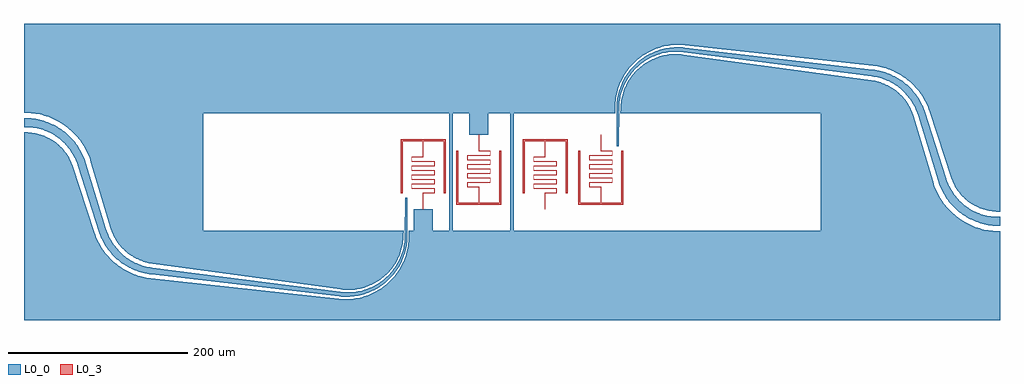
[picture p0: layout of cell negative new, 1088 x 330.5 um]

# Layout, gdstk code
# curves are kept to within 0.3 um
import gdstk
lib = gdstk.Library(unit=1e-6, precision=1e-09)
def R(c, l, rs):  # rectangles x0, y0, x1, y1
    for r in rs: c.add(gdstk.rectangle(r[:2], r[2:], *l))
def P(c, l, *ps):  # polygons
    for p in ps: c.add(gdstk.Polygon(p, *l))
L0_0 = (0, 0)
L0_3 = (0, 3)

negative_new = lib.new_cell('negative new')
R(negative_new, L0_0, [(-10.5,-101.5,10.5,-77.5), (29,-101.5,33,29), (97,-101.5,101,29), (51.5,5,72.5,29)])
P(negative_new, L0_0, [(-80.935,-167.618),(-74.335,-166.97),(-67.843,-165.616),(-57.467,-161.838),(-51.624,-158.7),(-46.153,-154.953),(-38.029,-147.473),(-33.843,-142.33),(-30.235,-136.766),(-25.614,-126.736),(-23.729,-120.378),(-22.539,-113.854),(-21.941,-101.5),(-245,-101.5),(-245,29),(-21.941,29),(-21.941,129),(-445,129),(-445,29.833),(-436.832,29.478),(-427.097,27.905),(-419.971,25.915),(-410.83,22.216),(-404.325,18.691),(-396.235,13.052),(-388.932,6.424),(-382.536,-1.082),(-375.975,-11.512),(-371.161,-22.855),(-348.745,-98.059),(-346.602,-104.028),(-342.744,-111.547),(-339.146,-116.768),(-334.991,-121.559),(-330.332,-125.86),(-324.884,-129.835),(-317.83,-133.71),(-309.913,-136.666),(-303.736,-138.099),(-91.966,-167.113)],
  [(214.076,33.917),(214.864,45.833),(217.654,57.444),(220.259,64.125),(223.53,70.507),(230.366,80.299),(238.76,88.794),(244.444,93.165),(250.543,96.936),(261.458,101.781),(273.035,104.712),(282.55,105.62),(292.1,105.231),(501.624,82.261),(513.642,79.943),(520.614,77.619),(527.325,74.623),(537.753,68.215),(543.458,63.582),(548.681,58.412),(553.371,52.754),(557.484,46.663),(560.979,40.198),(563.822,33.422),(589.289,-44.37),(593.819,-53.783),(598.676,-60.589),(602.965,-65.167),(607.748,-69.227),(612.962,-72.715),(618.54,-75.588),(624.408,-77.806),(630.491,-79.341),(636.709,-80.174),(643,-80.333),(643,129),(-21.941,129),(-21.941,29),(214.162,29)],
  [(220.057,34.74),(219.941,29),(220.057,29)],
  [(220.057,-101.5),(-16.162,-101.5),(-16.544,-115.963),(-17.743,-123.033),(-19.654,-129.944),(-22.259,-136.625),(-25.53,-143.007),(-32.366,-152.799),(-40.76,-161.294),(-46.444,-165.665),(-52.543,-169.436),(-58.995,-172.566),(-65.731,-175.024),(-72.683,-176.784),(-79.777,-177.828),(-86.941,-178.144),(-94.1,-177.731),(-308.476,-154.07),(-315.642,-152.443),(-322.614,-150.119),(-329.325,-147.123),(-335.709,-143.483),(-341.705,-139.233),(-348.997,-132.692),(-353.87,-127.191),(-358.18,-121.238),(-362.979,-112.698),(-365.822,-105.922),(-391.289,-28.13),(-395.819,-18.717),(-400.676,-11.911),(-404.965,-7.333),(-409.748,-3.273),(-414.962,0.215),(-420.54,3.088),(-426.408,5.306),(-432.491,6.841),(-438.709,7.674),(-445,7.833),(-445,-201.5),(220.057,-201.5)],
  [(643,-102.333),(634.832,-101.978),(625.097,-100.405),(617.971,-98.415),(608.83,-94.716),(602.325,-91.191),(594.235,-85.552),(588.677,-80.668),(582.044,-73.371),(575.152,-63.156),(569.977,-51.973),(546.745,25.559),(542.812,35.359),(537.146,44.268),(529.938,51.984),(521.435,58.244),(511.926,62.834),(505.872,64.72),(499.646,65.923),(289.966,94.613),(278.935,95.118),(270.156,94.096),(261.613,91.829),(251.534,87.316),(244.153,82.453),(237.544,76.584),(231.843,69.83),(227.168,62.329),(223.614,54.236),(221.729,47.878),(220.539,41.354),(220.057,29),(443,29),(443,-101.5),(220.057,-101.5),(220.057,-201.5),(643,-201.5)],
  [(218.373,34.578),(219.459,45.78),(222.49,56.619),(225.207,62.808),(228.56,68.675),(235.461,77.566),(243.813,85.11),(253.358,91.075),(263.799,95.275),(274.815,97.581),(283.813,98.013),(290.552,97.504),(500.248,70.455),(506.798,69.25),(513.181,67.35),(523.696,62.431),(523.696,71.285),(512.7,75.536),(501.147,77.882),(291.522,102.33),(282.129,102.77),(275.093,102.246),(268.149,100.996),(259.164,98.225),(250.646,94.24),(244.664,90.5),(237.35,84.589),(232.44,79.523),(228.08,73.976),(223.205,65.935),(220.303,59.504),(218.083,52.808),(216.569,45.917),(215.776,38.906),(216,-7.5),(218,-7.5)],
  [(643,-86.333),(634.662,-85.976),(628.151,-84.91),(621.793,-83.147),(613.682,-79.748),(607.966,-76.452),(600.961,-71.135),(596.25,-66.515),(592.065,-61.414),(587.388,-53.967),(583.831,-45.924),(559.746,29.59),(555.236,40.482),(550.35,48.553),(542.792,57.6),(533.822,65.249),(523.696,71.285),(523.696,62.431),(532.327,56.331),(538.681,50.133),(544.085,43.092),(549.337,33.325),(551.621,27.069),(574.684,-48.332),(579.465,-59.221),(584.558,-67.261),(592.36,-76.237),(601.551,-83.784),(609.731,-88.65),(620.749,-93.123),(632.36,-95.695),(643,-96.333)],
  [(-325.248,-135.2),(-332.605,-130.234),(-339.177,-124.267),(-346.085,-115.592),(-350.428,-107.851),(-353.621,-99.569),(-376.684,-24.168),(-381.465,-13.279),(-386.558,-5.239),(-391.06,0.305),(-397.883,6.94),(-403.551,11.284),(-411.731,16.15),(-420.488,19.878),(-427.34,21.886),(-436.725,23.474),(-445,23.833),(-445,13.833),(-436.662,13.476),(-430.151,12.41),(-423.793,10.647),(-415.682,7.248),(-409.966,3.952),(-402.961,-1.365),(-398.25,-5.985),(-394.065,-11.086),(-389.388,-18.533),(-385.831,-26.576),(-361.746,-102.09),(-359.26,-108.717),(-356.117,-115.06),(-352.35,-121.053),(-346.424,-128.394),(-339.564,-134.872),(-333.88,-139.092),(-325.248,-143.994)],
  [(-84.129,-175.27),(-74.764,-174.41),(-67.868,-172.92),(-58.984,-169.84),(-52.646,-166.74),(-44.76,-161.618),(-39.35,-157.089),(-32.923,-150.225),(-27.503,-142.54),(-24.164,-136.325),(-21.486,-129.798),(-19.499,-123.029),(-18.224,-116.09),(-17.654,-106.703),(-18,-65),(-20,-65),(-20.373,-107.078),(-20.788,-113.824),(-23.049,-124.849),(-27.207,-135.308),(-30.56,-141.175),(-34.514,-146.657),(-39.023,-151.691),(-45.813,-157.61),(-51.415,-161.391),(-57.384,-164.561),(-63.654,-167.083),(-70.155,-168.93),(-81.306,-170.455),(-92.552,-170.004),(-302.248,-142.955),(-313.076,-140.56),(-319.306,-138.207),(-325.248,-135.2),(-325.248,-143.994),(-314.7,-148.036),(-305.487,-150.069),(-93.522,-174.83)])
P(negative_new, L0_3, [(-25,-60),(-23,-60),(-23,-2),(23,-2),(23,-60),(25,-60),(25,0),(-25,0)],
  [(0.25,-2),(-0.25,-2),(-0.25,-19.5),(-13,-19.5),(-13,-25),(0,-25),(12.5,-25),(12.5,-29.5),(0,-29.5),(-13,-29.5),(-13,-35),(0,-35),(12.5,-35),(12.5,-39.5),(0,-39.5),(-13,-39.5),(-13,-45),(0,-45),(12.5,-45),(12.5,-49.5),(0,-49.5),(-13,-49.5),(-13,-55),(0,-55),(12.5,-55),(12.5,-59.5),(-0.25,-59.5),(-0.25,-77.5),(0.25,-77.5),(0.25,-60),(13,-60),(13,-54.5),(0,-54.5),(-12.5,-54.5),(-12.5,-50),(0,-50),(13,-50),(13,-44.5),(0,-44.5),(-12.5,-44.5),(-12.5,-40),(0,-40),(13,-40),(13,-34.5),(0,-34.5),(-12.5,-34.5),(-12.5,-30),(0,-30),(13,-30),(13,-24.5),(0,-24.5),(-12.5,-24.5),(-12.5,-20),(0.25,-20)],
  [(39,-12.5),(37,-12.5),(37,-72.5),(87,-72.5),(87,-12.5),(85,-12.5),(85,-70.5),(39,-70.5)],
  [(61.75,-70.5),(62.25,-70.5),(62.25,-52.5),(49.5,-52.5),(49.5,-48),(62,-48),(75,-48),(75,-42.5),(62,-42.5),(49.5,-42.5),(49.5,-38),(62,-38),(75,-38),(75,-32.5),(62,-32.5),(49.5,-32.5),(49.5,-28),(62,-28),(75,-28),(75,-22.5),(62,-22.5),(49.5,-22.5),(49.5,-18),(62,-18),(75,-18),(75,-12.5),(62.25,-12.5),(62.25,5),(61.75,5),(61.75,-13),(74.5,-13),(74.5,-17.5),(62,-17.5),(49,-17.5),(49,-23),(62,-23),(74.5,-23),(74.5,-27.5),(62,-27.5),(49,-27.5),(49,-33),(62,-33),(74.5,-33),(74.5,-37.5),(62,-37.5),(49,-37.5),(49,-43),(62,-43),(74.5,-43),(74.5,-47.5),(62,-47.5),(49,-47.5),(49,-53),(61.75,-53)],
  [(-25,-60),(-23,-60),(-23,-2),(23,-2),(23,-60),(25,-60),(25,0),(-25,0)],
  [(0.25,-2),(-0.25,-2),(-0.25,-19.5),(-13,-19.5),(-13,-25),(0,-25),(12.5,-25),(12.5,-29.5),(0,-29.5),(-13,-29.5),(-13,-35),(0,-35),(12.5,-35),(12.5,-39.5),(0,-39.5),(-13,-39.5),(-13,-45),(0,-45),(12.5,-45),(12.5,-49.5),(0,-49.5),(-13,-49.5),(-13,-55),(0,-55),(12.5,-55),(12.5,-59.5),(-0.25,-59.5),(-0.25,-77.5),(0.25,-77.5),(0.25,-60),(13,-60),(13,-54.5),(0,-54.5),(-12.5,-54.5),(-12.5,-50),(0,-50),(13,-50),(13,-44.5),(0,-44.5),(-12.5,-44.5),(-12.5,-40),(0,-40),(13,-40),(13,-34.5),(0,-34.5),(-12.5,-34.5),(-12.5,-30),(0,-30),(13,-30),(13,-24.5),(0,-24.5),(-12.5,-24.5),(-12.5,-20),(0.25,-20)],
  [(39,-12.5),(37,-12.5),(37,-72.5),(87,-72.5),(87,-12.5),(85,-12.5),(85,-70.5),(39,-70.5)],
  [(61.75,-70.5),(62.25,-70.5),(62.25,-52.5),(49.5,-52.5),(49.5,-48),(62,-48),(75,-48),(75,-42.5),(62,-42.5),(49.5,-42.5),(49.5,-38),(62,-38),(75,-38),(75,-32.5),(62,-32.5),(49.5,-32.5),(49.5,-28),(62,-28),(75,-28),(75,-22.5),(62,-22.5),(49.5,-22.5),(49.5,-18),(62,-18),(75,-18),(75,-12.5),(62.25,-12.5),(62.25,5),(61.75,5),(61.75,-13),(74.5,-13),(74.5,-17.5),(62,-17.5),(49,-17.5),(49,-23),(62,-23),(74.5,-23),(74.5,-27.5),(62,-27.5),(49,-27.5),(49,-33),(62,-33),(74.5,-33),(74.5,-37.5),(62,-37.5),(49,-37.5),(49,-43),(62,-43),(74.5,-43),(74.5,-47.5),(62,-47.5),(49,-47.5),(49,-53),(61.75,-53)],
  [(111,-60),(113,-60),(113,-2),(159,-2),(159,-60),(161,-60),(161,0),(111,0)],
  [(136.25,-2),(135.75,-2),(135.75,-19.5),(123,-19.5),(123,-25),(136,-25),(148.5,-25),(148.5,-29.5),(136,-29.5),(123,-29.5),(123,-35),(136,-35),(148.5,-35),(148.5,-39.5),(136,-39.5),(123,-39.5),(123,-45),(136,-45),(148.5,-45),(148.5,-49.5),(136,-49.5),(123,-49.5),(123,-55),(136,-55),(148.5,-55),(148.5,-59.5),(135.75,-59.5),(135.75,-77.5),(136.25,-77.5),(136.25,-60),(149,-60),(149,-54.5),(136,-54.5),(123.5,-54.5),(123.5,-50),(136,-50),(149,-50),(149,-44.5),(136,-44.5),(123.5,-44.5),(123.5,-40),(136,-40),(149,-40),(149,-34.5),(136,-34.5),(123.5,-34.5),(123.5,-30),(136,-30),(149,-30),(149,-24.5),(136,-24.5),(123.5,-24.5),(123.5,-20),(136.25,-20)],
  [(175,-12.5),(173,-12.5),(173,-72.5),(223,-72.5),(223,-12.5),(221,-12.5),(221,-70.5),(175,-70.5)],
  [(197.75,-70.5),(198.25,-70.5),(198.25,-52.5),(185.5,-52.5),(185.5,-48),(198,-48),(211,-48),(211,-42.5),(198,-42.5),(185.5,-42.5),(185.5,-38),(198,-38),(211,-38),(211,-32.5),(198,-32.5),(185.5,-32.5),(185.5,-28),(198,-28),(211,-28),(211,-22.5),(198,-22.5),(185.5,-22.5),(185.5,-18),(198,-18),(211,-18),(211,-12.5),(198.25,-12.5),(198.25,5),(197.75,5),(197.75,-13),(210.5,-13),(210.5,-17.5),(198,-17.5),(185,-17.5),(185,-23),(198,-23),(210.5,-23),(210.5,-27.5),(198,-27.5),(185,-27.5),(185,-33),(198,-33),(210.5,-33),(210.5,-37.5),(198,-37.5),(185,-37.5),(185,-43),(198,-43),(210.5,-43),(210.5,-47.5),(198,-47.5),(185,-47.5),(185,-53),(197.75,-53)])

lib.write_gds('negative_new.gds')
